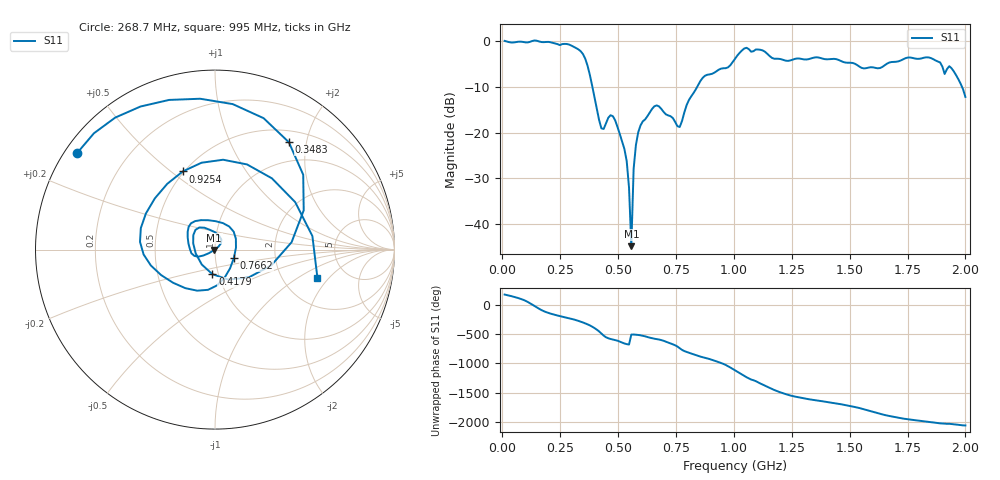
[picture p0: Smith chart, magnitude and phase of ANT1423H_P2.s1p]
!Created with skrf (http://scikit-rf.org).
# Hz S RI R 50.0
!freq ReS11 ImS11
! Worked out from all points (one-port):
!   201 points, 10 MHz to 2 GHz, reference 50 ohm
!   lowest |S11| = -44.9 dB at 557.2 MHz (marker M1), VSWR 1.01, Z = 49.5 - j0.276 ohm
!   |S11| at or under -10 dB: 389.1 MHz to 841.3 MHz (452.2 MHz wide, 73.5 % of centre); 1.985 GHz to end of sweep
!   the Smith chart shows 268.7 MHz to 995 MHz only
!   S11 on the Smith chart (normalised r, x): 268.7 MHz: 0.04, +0.31; 348.3 MHz: 0.67, +1.70; 417.9 MHz: 0.94, -0.26; 766.2 MHz: 1.23, -0.11; 925.4 MHz: 0.49, +0.55; 995 MHz: 3.10, -1.52
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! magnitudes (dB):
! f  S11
! 10 MHz  0.1
! 258.8 MHz  -0.6
! 268.7 MHz  -0.6
! 348.3 MHz  -2.8
! 417.9 MHz  -17.2
! 437.9 MHz  -19.2
! 477.6 MHz  -16.4
! 507.5 MHz  -20.3
! 537.4 MHz  -26.3
! 547.3 MHz  -32.1
! 557.2 MHz  -44.9
! 567.2 MHz  -28.0
! 577.1 MHz  -22.7
! 597 MHz  -18.4
! 666.7 MHz  -14.0
! 756.2 MHz  -18.6
! 766.2 MHz  -18.8
! 855.8 MHz  -8.7
! 925.4 MHz  -6.5
! 995 MHz  -4.5
! 1.005 GHz  -3.8
! 1.055 GHz  -1.4
! 1.254 GHz  -4.0
! 1.502 GHz  -4.7
! 1.751 GHz  -3.6
! 1.91 GHz  -7.2
! 1.93 GHz  -5.5
! 2 GHz  -12.2
